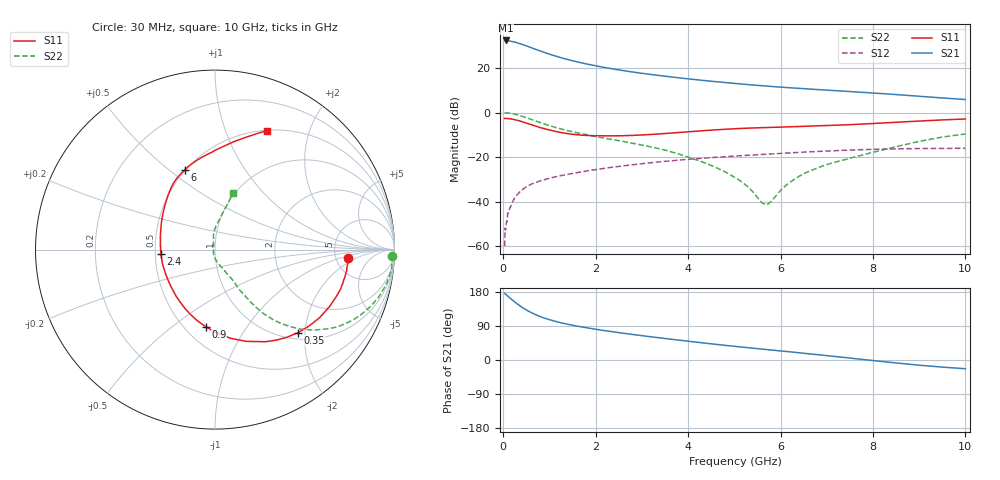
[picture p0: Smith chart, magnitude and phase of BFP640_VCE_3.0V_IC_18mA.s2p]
! Infineon Technologies  Discrete & RF Semiconductors
! BFP640
! VCE =  3.0 V,  IC =  18 mA
! Common Emitter S-Parameters:  Apr 2013
# GHz  S  MA  R  50
!  f  S11  S21  S12  S22
! GHz  MAG  ANG  MAG  ANG  MAG  ANG  MAG  ANG
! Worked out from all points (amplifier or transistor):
!   99 points, 30 MHz to 10 GHz, reference 50 ohm
!   highest |S21| = 32.5 dB at 50 MHz (marker M1)
!   |S21| within 3 dB of that: start of sweep to 575.3 MHz
!   unconditionally stable (mu >= 1): 2.879 GHz to end of sweep
!   at 350 MHz: K = 0.25, MSG = 33.4 dB, |S12| = -35.8 dB
!   at 3.5 GHz: K = 1.03, MAG = 18.1 dB, |S12| = -21.9 dB
!   at 10 GHz: K = 1.08, MAG = 9.3 dB, |S12| = -16.0 dB
!   S11 on the Smith chart (normalised r, x): 30 MHz: 6.52, -1.45; 350 MHz: 1.14, -1.84; 900 MHz: 0.63, -0.67; 2.4 GHz: 0.54, -0.03; 6 GHz: 0.50, +0.57; 10 GHz: 0.51, +1.40
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0.03  0.7452 -3.8  41.93 175.8  0.001 94.1  0.9879 -2.0
0.05  0.743 -6.6  42.03 173.9  0.0023 74.5  0.9908 -3.9
0.12  0.7339 -16.1  41.11 166.3  0.0061 83.2  0.9787 -9.8
0.2  0.7123 -26.6  39.66 158.0  0.0098 76.5  0.9494 -16.2
0.3  0.6753 -39.1  37.23 148.4  0.0142 72.9  0.8959 -23.4
0.35  0.6548 -44.9  35.82 144.0  0.0162 71.3  0.8661 -26.7
0.45  0.6084 -56.1  33.15 135.8  0.0198 68.0  0.8032 -32.5
0.6  0.5396 -71.3  29.11 125.4  0.0245 63.2  0.7095 -39.2
0.8  0.463 -89.0  24.44 114.5  0.0294 59.4  0.6 -45.7
0.9  0.4336 -96.7  22.48 110.2  0.0314 57.6  0.5531 -48.1
1  0.4087 -103.9  20.7 106.4  0.0336 56.8  0.5138 -50.0
1.2  0.3674 -117.3  17.84 99.7  0.0375 54.8  0.4456 -52.9
1.4  0.339 -129.4  15.62 94.2  0.0413 53.7  0.3944 -54.6
1.7  0.3133 -145.6  13.14 87.2  0.047 52.2  0.3355 -56.1
2.4  0.302 -175.8  9.531 74.0  0.0602 48.2  0.2455 -58.9
3.4  0.3352 152.8  6.799 58.2  0.0788 41.4  0.1522 -63.3
5.1  0.44 120.9  4.461 34.9  0.1072 28.1  0.0308 -103.1
5.7  0.4635 114.0  3.962 27.6  0.1168 23.5  0.0084 166.8
6  0.474 110.9  3.758 23.9  0.1215 21.1  0.018 114.1
6.7  0.5019 103.2  3.365 15.3  0.133 14.9  0.0521 98.7
8.5  0.6091 80.3  2.554 -7.8  0.154 -2.5  0.1722 81.4
10  0.7221 66.5  1.979 -23.0  0.1583 -14.1  0.3321 72.9
